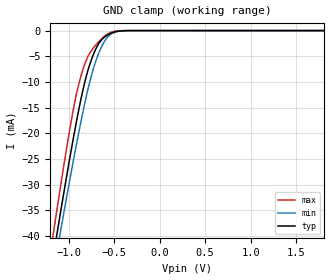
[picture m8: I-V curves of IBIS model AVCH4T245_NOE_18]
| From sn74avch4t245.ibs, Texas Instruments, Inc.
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[Model]   AVCH4T245_NOE_18
Model_type  Input
Vinl=0.5775
Vinh=1.2675
| variable   typ   min   max
C_comp   2.87pF   2.36pF   3.39pF
[Temperature Range]   40   100   -40
| Ambient temperature   25   85   -40
[Voltage range]   1.8   1.65   1.95
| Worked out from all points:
|   GND clamp passes 1 mA (typ) near -0.58 V on its own axis
[GND Clamp]
| AVCH4T245_NOE_18
|   Voltage   I(typ)   I(min)   I(max)
-4.6V     -459.2mA   -437.9mA   -484.2mA
-1.185V   -45.97mA   -49.06mA   -41.71mA
-1.155V   -42.69mA   -45.98mA   -38.17mA
-1.13V    -39.97mA   -43.42mA   -35.25mA
-1.105V   -37.28mA   -40.88mA   -32.35mA
-1.08V    -34.61mA   -38.36mA   -29.5mA
-950mV    -21.28mA   -25.63mA   -15.65mA
-840mV    -11.44mA   -15.71mA   -7.485mA
-765mV    -6.504mA   -9.869mA   -4.351mA
-695mV    -3.38mA    -5.644mA   -2.68mA
-540mV    -571.7uA   -743.1uA   -384.3uA
1.8V      129.6pA    822.2pA    26.26pA
